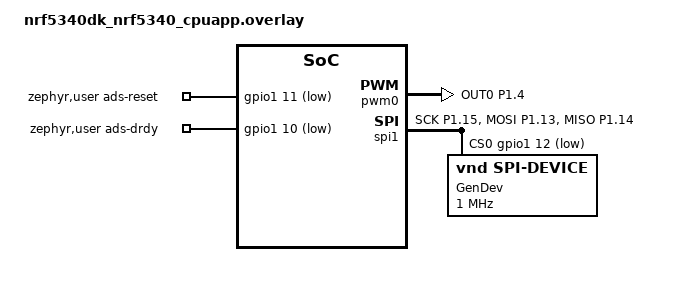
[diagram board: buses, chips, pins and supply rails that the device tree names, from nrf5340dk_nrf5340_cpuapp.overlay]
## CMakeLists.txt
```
cmake_minimum_required(VERSION 3.20.0)
find_package(Zephyr REQUIRED HINTS $ENV{ZEPHYR_BASE})

project(EMG_Firmware)

target_sources(app PRIVATE src/main.c)
```

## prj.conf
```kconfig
# prj.conf
CONFIG_BT=y
CONFIG_BT_PERIPHERAL=y
CONFIG_BT_NUS=y
CONFIG_BT_DEVICE_NAME="EMG Device"
CONFIG_GPIO=y
CONFIG_LOG=y
CONFIG_SPI=y
CONFIG_PWM=y
```

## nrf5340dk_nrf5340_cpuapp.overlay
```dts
/*
 * Copyright (c) 2024 Nordic Semiconductor ASA
 *
 * SPDX-License-Identifier: LicenseRef-Nordic-5-Clause
 */

/ {
    /* Defines for custom pins that aren't part of a standard protocol */
    zephyr,user {
        /* * ADS1298 /RESET pin.
         * Moved to P1.11 (Arduino D3) to avoid conflicts.
         */
        ads-reset-gpios = <&gpio1 11 GPIO_ACTIVE_LOW>;

        /* * ADS1298 DRDY pin.
         * Moved to P1.10 (Arduino D2).
         */
        ads-drdy-gpios = <&gpio1 10 GPIO_ACTIVE_LOW>;
    };
};

/* Disable other peripherals that might conflict */
&i2c1 {	status = "disabled";};
&spi4 { status = "disabled";};

/* PWM0 generates the ADS1298 master clock on P1.04 (2 MHz, 50% duty) */
&pwm0 {
        status = "okay";
        pinctrl-0 = <&pwm0_default>;
        pinctrl-1 = <&pwm0_sleep>;
        pinctrl-names = "default", "sleep";
};

&spi1 {
        compatible = "nordic,nrf-spim";
        status = "okay";

        /* CS moved to P1.12 (Arduino D10) */
        cs-gpios = <&gpio1 12 GPIO_ACTIVE_LOW>;

        pinctrl-0 = <&spi1_default>;
        pinctrl-1 = <&spi1_sleep>;
        pinctrl-names = "default", "sleep";

        gendev: gendev@0 {
                compatible = "vnd,spi-device";
                reg = <0>;
                spi-max-frequency = <1000000>;
                label = "GenDev";
        };
};

&pinctrl {
    spi1_default: spi1_default {
        group1 {
            /* Arduino D13 (SCK), D11 (MOSI), D12 (MISO) */
            psels = <NRF_PSEL(SPIM_SCK, 1, 15)>,
                    <NRF_PSEL(SPIM_MOSI, 1, 13)>,
                    <NRF_PSEL(SPIM_MISO, 1, 14)>;
        };
    };
    spi1_sleep: spi1_sleep {
        group1 {
            psels = <NRF_PSEL(SPIM_SCK, 1, 15)>,
                    <NRF_PSEL(SPIM_MOSI, 1, 13)>,
                    <NRF_PSEL(SPIM_MISO, 1, 14)>;
            low-power-enable;
        };
    };

    pwm0_default: pwm0_default {
        group1 {
            psels = <NRF_PSEL(PWM_OUT0, 1, 4)>;
        };
    };
    pwm0_sleep: pwm0_sleep {
        group1 {
            psels = <NRF_PSEL(PWM_OUT0, 1, 4)>;
            low-power-enable;
        };
    };
};


/*

MOSI:  P1.13 ---------- DIN
MISO:  P1.14 ---------- DOUT
CS:    P1.12 ---------- CS
Clock: P1.15 ---------- SCLK
RESET: P1.11
DRDY : P1.10
CLK:    P1.04 (2 MHz PWM from nRF)
CLKSEL: VDD (external clock mode)


Power: J4-ADS-PDK ----------- MB00-J5

*/
```

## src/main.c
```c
#include <zephyr/kernel.h>
#include <zephyr/device.h>
#include <zephyr/drivers/gpio.h>
#include <zephyr/logging/log.h>
#include <string.h>
#include <zephyr/sys/printk.h>
#include "ads1298.h"
#include <zephyr/drivers/spi.h>
#include <zephyr/drivers/pwm.h>
#include <zephyr/bluetooth/bluetooth.h>
#include <zephyr/bluetooth/conn.h>
#include <bluetooth/services/nus.h>
#include <zephyr/bluetooth/uuid.h>
#include <zephyr/bluetooth/gatt.h>
#include <zephyr/bluetooth/hci.h>

LOG_MODULE_REGISTER(emg_software, LOG_LEVEL_INF);

// --- Bluetooth Configuration ---
static struct bt_conn *current_conn;
static const struct bt_data ad[] = {
    BT_DATA_BYTES(BT_DATA_FLAGS, (BT_LE_AD_GENERAL | BT_LE_AD_NO_BREDR)),
    BT_DATA(BT_DATA_NAME_COMPLETE, "EMG Device", 10),
};

// NUS callback for received data
static void nus_cb_received(struct bt_conn *conn, const uint8_t *const data,
                           uint16_t len)
{
    LOG_INF("Received data, len %d", len);
}

// NUS callback for sent data
static void nus_cb_sent(struct bt_conn *conn)
{
    LOG_INF("Data sent");
}

static struct bt_nus_cb nus_cb = {
    .received = nus_cb_received,
    .sent = nus_cb_sent,
};

// Connection callback
static void connected(struct bt_conn *conn, uint8_t err)
{
    if (err) {
        LOG_ERR("Connection failed (err %u)", err);
        return;
    }

    current_conn = bt_conn_ref(conn);
    LOG_INF("Connected");
}

// Disconnection callback
static void disconnected(struct bt_conn *conn, uint8_t reason)
{
    LOG_INF("Disconnected (reason %u)", reason);

    if (current_conn) {
        bt_conn_unref(current_conn);
        current_conn = NULL;
    }
}

static struct bt_conn_cb conn_callbacks = {
    .connected = connected,
    .disconnected = disconnected,
};


// Define explicit parameters without the deprecated flag
static struct bt_le_adv_param adv_param = BT_LE_ADV_PARAM_INIT(
    BT_LE_ADV_OPT_CONNECTABLE, // Removed BT_LE_ADV_OPT_USE_NAME to avoid err -22
    BT_GAP_ADV_FAST_INT_MIN_2,                         // 100ms
    BT_GAP_ADV_FAST_INT_MAX_2,                         // 150ms
    NULL);

// Initialize Bluetooth
static int ble_init(void)
{
    int err;

    // Enable Bluetooth
    err = bt_enable(NULL);
    if (err) {
        LOG_ERR("Bluetooth init failed (err %d)", err);
        return err;
    }

    LOG_INF("Bluetooth initialized");

    // Initialize NUS service
    err = bt_nus_init(&nus_cb);
    if (err) {
        LOG_ERR("Failed to init NUS (err %d)", err);
        return err;
    }

    // Register connection callbacks
    bt_conn_cb_register(&conn_callbacks);

    // 4. Start advertising
    err = bt_le_adv_start(&adv_param, ad, ARRAY_SIZE(ad), NULL, 0);
    if (err) {
        LOG_ERR("Advertising failed to start (err %d)", err);
        return 0;
    }

    LOG_INF("Advertising successfully started");
    return 0;
}

// --- SPI Configuration ---
#define SPIOP (SPI_WORD_SET(8) | SPI_TRANSFER_MSB | SPI_MODE_CPHA)
struct spi_dt_spec spispec = SPI_DT_SPEC_GET(DT_NODELABEL(gendev), SPIOP, 0);

// --- PWM Configuration (ADS1298 master clock, 2 MHz on P1.04) ---
static const struct device *pwm_dev = DEVICE_DT_GET(DT_NODELABEL(pwm0));

static int ads_clk_start(void)
{
    if (!device_is_ready(pwm_dev)) {
        LOG_ERR("PWM device not ready");
        return -1;
    }
    /* 2 MHz square wave, 50% duty. period = 500 ns, pulse = 250 ns. */
    int err = pwm_set(pwm_dev, 0, PWM_NSEC(500), PWM_NSEC(250), 0);
    if (err) {
        LOG_ERR("pwm_set failed: %d", err);
        return err;
    }
    LOG_INF("ADS1298 master clock (2 MHz) started on P1.04");
    return 0;
}

// --- GPIO Configuration ---
#define ZEPHYR_USER_NODE DT_PATH(zephyr_user)
const struct gpio_dt_spec ads_reset = GPIO_DT_SPEC_GET(ZEPHYR_USER_NODE, ads_reset_gpios);
const struct gpio_dt_spec ads_drdy  = GPIO_DT_SPEC_GET(ZEPHYR_USER_NODE, ads_drdy_gpios);

struct gpio_callback drdy_cb_data;
// Define a work item to handle the SPI read outside the ISR
struct k_work drdy_work;

// --- Helper: Write Single Register ---
int ads_write_reg(uint8_t reg_addr, uint8_t value)
{
    int err;
    uint8_t tx_data[3];
    
    // Command: WREG (0x40) + Register Address
    tx_data[0] = WREG | reg_addr; 
    // Operand: Number of registers to write - 1 (0x00 for 1 register)
    tx_data[1] = 0x00;            
    // Payload: The value to write
    tx_data[2] = value;           

    struct spi_buf tx_buf = {.buf = tx_data, .len = 3};
    struct spi_buf_set tx_set = {.buffers = &tx_buf, .count = 1};

    // Note: We don't need to read back MISO during a WREG, so rx_set is NULL
    err = spi_write_dt(&spispec, &tx_set);
    if (err < 0) {
        LOG_ERR("Failed to write Reg 0x%02x: %d", reg_addr, err);
    } else {
        LOG_INF("Wrote 0x%02x to Reg 0x%02x", value, reg_addr);
    }
    return err;
}

// --- Helper: Send Command ---
int ads_send_cmd(uint8_t cmd)
{
    struct spi_buf tx_buf = {.buf = &cmd, .len = 1};
    struct spi_buf_set tx_set = {.buffers = &tx_buf, .count = 1};
    return spi_write_dt(&spispec, &tx_set);
}

// --- Helper: Send EMG data over BLE as binary ---
// Sends the raw microvolt value as a signed 16-bit little-endian int.
// Range: +/-32.768 mV, resolution: 1 uV. Clamped if ch1_uv exceeds int16 range.
static void send_emg_data_ble_binary(int32_t ch1_uv)
{
    if (!current_conn) {
        return;
    }

    if (ch1_uv > INT16_MAX) ch1_uv = INT16_MAX;
    if (ch1_uv < INT16_MIN) ch1_uv = INT16_MIN;
    int16_t value = (int16_t)ch1_uv;

    uint8_t buffer[2] = { (uint8_t)(value & 0xFF), (uint8_t)((value >> 8) & 0xFF) };
    bt_nus_send(current_conn, buffer, sizeof(buffer));
}

// --- Helper: Read Data Packet ---
// This now matches the signature required by k_work_handler_t
void read_ads1298_data(struct k_work *item)
{
    int err;
    // 27 bytes = 3 status + (8 channels * 3 bytes)
    uint8_t tx_dummy[27] = {0}; 
    uint8_t rx_data[27]  = {0};

    struct spi_buf tx_buf = {.buf = tx_dummy, .len = sizeof(tx_dummy)};
    struct spi_buf rx_buf = {.buf = rx_data,  .len = sizeof(rx_data)};
    struct spi_buf_set tx_set = {.buffers = &tx_buf, .count = 1};
    struct spi_buf_set rx_set = {.buffers = &rx_buf, .count = 1};

    err = spi_transceive_dt(&spispec, &tx_set, &rx_set);
    if (err < 0) {
        LOG_ERR("Data Read Fail: %d", err);
        return;
    }

    // Extract CH1 (Bytes 3, 4, 5)
    int32_t ch1_raw = (rx_data[3] << 16) | (rx_data[4] << 8) | rx_data[5];
    
    // Sign extension for 24-bit
    if (ch1_raw & 0x800000) {
        ch1_raw |= 0xFF000000; 
    }

    // --- Convert Raw to Millivolts (mV) ---
    // V_REF = 2.4V (set in CONFIG3)
    // Gain = 6 (set in CH1SET)
    // Max positive 24-bit value = 2^23 - 1 = 8,388,607
    // Voltage (uV) = (Raw * V_REF) / ((2^23 - 1) * Gain)
    // Voltage (uV) = (Raw * 2400000) / (8388607 * 6)
    // Voltage (uV) = (Raw * 400000) / 8388607
    // We use 64-bit integer math to prevent overflow and avoid float logging issues in Zephyr.
    int32_t ch1_uv = (int32_t)(((int64_t)ch1_raw * 400000) / 8388607);

    // Send every sample over BLE so the iOS pipeline (bandpass 20-150 Hz)
    // has a meaningful Nyquist. 500 Hz * 2 B = 1 kB/s, well within NUS.
    send_emg_data_ble_binary(ch1_uv);

    // Removed the log_counter decimation!
    int32_t mv_int = ch1_uv / 1000;
    int32_t mv_frac = ch1_uv % 1000;
    if (mv_frac < 0) mv_frac = -mv_frac;

    char buffer[32];
    if (ch1_uv < 0 && mv_int == 0) {
        snprintf(buffer, sizeof(buffer), ">CH1:-0.%03d\n", mv_frac);
    } else {
        snprintf(buffer, sizeof(buffer), ">CH1:%d.%03d\n", mv_int, mv_frac);
    }
    printk("%s", buffer);
}

// --- Interrupt Handler ---
void drdy_handler(const struct device *dev, struct gpio_callback *cb, uint32_t pins)
{
    // CRITICAL FIX: Do NOT call SPI functions here.
    // Instead, submit the work to the system work queue.
    // The kernel will run read_ads1298_data() as soon as the ISR finishes.
    k_work_submit(&drdy_work);
}

// --- Initialization ---
int ads_init(void)
{
    // 1. Initialize the Work Queue Item
    k_work_init(&drdy_work, read_ads1298_data);

    // 2. GPIO Init
    if (!gpio_is_ready_dt(&ads_reset) || !gpio_is_ready_dt(&ads_drdy)) return -1;
    gpio_pin_configure_dt(&ads_reset, GPIO_OUTPUT_INACTIVE);
    gpio_pin_configure_dt(&ads_drdy, GPIO_INPUT);
    gpio_pin_interrupt_configure_dt(&ads_drdy, GPIO_INT_EDGE_TO_ACTIVE);
    gpio_init_callback(&drdy_cb_data, drdy_handler, BIT(ads_drdy.pin));
    gpio_add_callback(ads_drdy.port, &drdy_cb_data);

    // 3. Hardware Reset
    LOG_INF("Resetting...");
    gpio_pin_set_dt(&ads_reset, 1);
    k_sleep(K_MSEC(2)); 
    gpio_pin_set_dt(&ads_reset, 0);
    k_sleep(K_MSEC(150)); 

    // 4. Send WAKEUP and SDATAC (REQUIRED before writing registers)
    ads_send_cmd(WAKEUP);
    k_sleep(K_MSEC(2));
    ads_send_cmd(SDATAC);
    k_sleep(K_MSEC(10));

    return 0;
}

int main(void)
{
    // Initialize Bluetooth first
    if (ble_init() < 0) {
        LOG_ERR("Bluetooth init failed");
        return 0;
    }

    if (!spi_is_ready_dt(&spispec)) {
        LOG_ERR("SPI not ready");
        return 0;
    }

    /* Start the external clock for the ADS1298 before resetting it. */
    if (ads_clk_start() < 0) {
        LOG_ERR("ADS clock start failed");
        return 0;
    }
    k_sleep(K_MSEC(100)); // Wait for tPOR (at least 32ms) before resetting

    if (ads_init() < 0) {
        LOG_ERR("GPIO init failed");
        return 0;
    }

    // --- Sensor Configuration ---

    // --- STEP 0: Set High-Resolution Mode & Data Rate ---
    // Register: CONFIG1 (0x01)
    // Value: 0x86 -> High-Resolution 500SPS
    // HR=1 (High-res), CLK_EN=0, DR[2:0]=110 (500SPS)
    ads_write_reg(CONFIG1, HIGH_RES_500_SPS);
    k_sleep(K_MSEC(1));

    // --- STEP 1: Configure Reference and RLD ---
    // Register: CONFIG3 (0x03)
    // Value: 0xD8 -> 0b11011000
    // PD_REFBUF = 1 (internal reference enabled, VREF = 2.4V)
    // VREF_4V = 0 (VREF = 2.4V)
    // RLD_MEAS = 1 (RLD measurement routed to ADC)
    // RLDREF_INT = 1 (RLD reference is internal (AVDD-AVSS)/2)
    // PD_RLD = 0 (RLD buffer is enabled)
    ads_write_reg(CONFIG3, CONFIG3_const | PD_REFBUF | RLD_MEAS | RLDREF_INT);
    k_sleep(K_MSEC(100)); // Allow reference to settle

    // --- STEP 2: Disable Internal Test Signal Generator ---
    // Register: CONFIG2 (0x02)
    // Value: 0x00 -> Test signals disabled, default state
    // ads_write_reg(CONFIG2, 0x00);
    // k_sleep(K_MSEC(1));

    // --- STEP 3: Configure Channel 1 ---
    // Register: CH1SET (0x05)
    // We want Gain=6 and Mux=Electrode Input
    // GAIN_6X (0x00) | ELECTRODE_INPUT (0x00) = 0x00
    ads_write_reg(CH1SET, GAIN_6X | ELECTRODE_INPUT);
    k_sleep(K_MSEC(1));

    // Optional: Power down other channels (CH2-CH8) to reduce noise/power
    // Writing 0x81 (PD=1, Input=Short) to CH2SET
    // ads_write_reg(CH2SET, 0x81); 

    // --- SANITY: Read ID register (expect 0x92 for ADS1298) ---
    {
        uint8_t tx[3] = { RREG | 0x00, 0x00, 0x00 };
        uint8_t rx[3] = { 0 };
        struct spi_buf txb = { .buf = tx, .len = 3 };
        struct spi_buf rxb = { .buf = rx, .len = 3 };
        struct spi_buf_set txs = { .buffers = &txb, .count = 1 };
        struct spi_buf_set rxs = { .buffers = &rxb, .count = 1 };
        int e = spi_transceive_dt(&spispec, &txs, &rxs);
        LOG_INF("ID reg read err=%d, bytes: 0x%02x 0x%02x 0x%02x (expect last byte 0x92)",
                e, rx[0], rx[1], rx[2]);
        k_sleep(K_MSEC(5));
    }

    // --- STEP 4: Start Conversion ---
    LOG_INF("Starting Data Stream...");
    ads_send_cmd(START);  // Start conversions
    k_sleep(K_MSEC(1));
    ads_send_cmd(RDATAC); // Put in Read Data Continuous mode

    // From now on, whenever DRDY goes low, the drdy_handler will print the data
    while (1) {
        k_sleep(K_FOREVER);
    }
    return 0;
}
```
